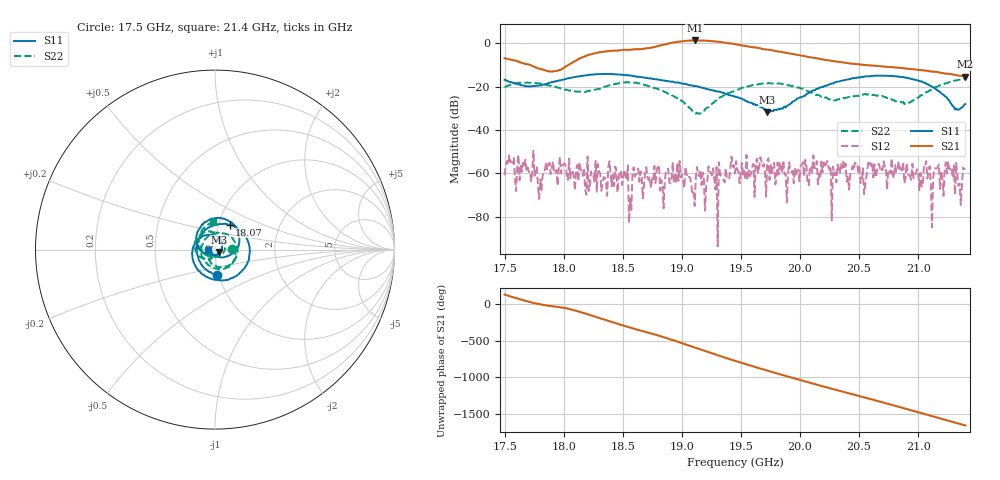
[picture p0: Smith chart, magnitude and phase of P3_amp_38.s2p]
!Created with skrf (http://scikit-rf.org).
# GHz S RI R 50.0
!freq ReS11 ImS11 ReS21 ImS21 ReS12 ImS12 ReS22 ImS22
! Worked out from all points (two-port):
!   401 points, 17.5 GHz to 21.4 GHz, reference 50 ohm
!   highest |S21| = 1.26 dB at 19.11 GHz (marker M1); lowest = -15.4 dB at 21.4 GHz (marker M2)
!   |S21| within 3 dB of the highest: 18.77 GHz to 19.58 GHz (812.2 MHz wide, 4.24 % of centre)
!   lowest |S11| = -31.8 dB at 19.72 GHz (marker M3), VSWR 1.05, Z = 52.2 - j1.38 ohm
!   |S11| at or under -10 dB: start of sweep to end of sweep
!   |S22| runs from -32.5 to -16.2 dB; largest |S21 - S12| = 1.2
!   S11 on the Smith chart (normalised r, x): 17.5 GHz: 0.98, -0.29; 18.07 GHz: 1.13, +0.32; 21.4 GHz: 0.92, -0.00
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17.5  0.0092 -0.1433  -0.278 0.3542  -0.000809 0.000413  0.097 0.00277
17.7145  -0.1017 -0.00744  0.2825 0.1421  -8.67e-05 0.00111  0.091 -0.0836
18.0655  0.0816 0.1388  0.0881 -0.3352  -3.71e-05 -0.00112  -0.0731 -0.0375
18.15325  0.142 0.1052  -0.202 -0.4213  0.000512 -0.000947  -0.0749 0.0192
18.30925  0.1936 -0.0136  -0.5963 0.1786  0.000486 -0.000885  0.00411 0.0894
18.475  0.1273 -0.14  0.1107 0.6788  0.000501 -0.00101  0.1154 0.034
18.553  0.0657 -0.1699  0.5173 0.4752  6.79e-06 7.3e-05  0.1223 -0.03
18.64075  -0.00703 -0.1671  0.7225 0.0205  -0.00054 -0.000354  0.0803 -0.0864
18.8065  -0.1059 -0.0972  0.2596 -0.8334  -0.000705 -0.00141  -0.00862 -0.0846
18.99175  -0.1173 0.0217  -1.081 -0.2097  -0.000697 0.000417  -0.0343 -0.0345
19.10875  -0.0752 0.0703  -0.6873 0.9296  0.000152 9.35e-05  -0.017 -0.0183
19.1965  -0.0384 0.0828  0.2277 1.119  -3.82e-05 0.000133  -0.0089 -0.0283
19.294  0.000324 0.0781  0.9813 0.4791  0.000203 0.00139  -0.0196 -0.0447
19.45  0.0346 0.0484  0.5394 -0.7817  0.000897 -0.000438  -0.0634 -0.0489
19.723  0.0219 -0.0132  -0.7063 0.0908  0.00185 -0.000533  -0.1052 0.0532
19.88875  -0.0149 -0.0329  -0.0449 0.5923  -9.7e-05 0.000194  -0.0427 0.0994
20.10325  -0.0796 -0.00699  0.4656 -0.0255  -0.00086 -0.000581  0.0152 0.0699
20.47375  -0.0659 0.1447  -0.317 -0.0975  -0.000296 0.0017  0.0206 0.0578
20.7565  0.0858 0.1552  0.0766 0.2758  0.000754 0.000937  0.0536 -0.00466
21.25375  0.0279 -0.0417  -0.1702 -0.1  -0.000551 -0.00182  -0.0771 0.0959
21.35125  -0.0214 -0.0211  -0.1723 0.0409  -0.000529 -0.00025  -0.0382 0.1404
21.4  -0.0398 -0.000652  -0.1384 0.0986  -0.00115 -0.000501  -0.009 0.1542
